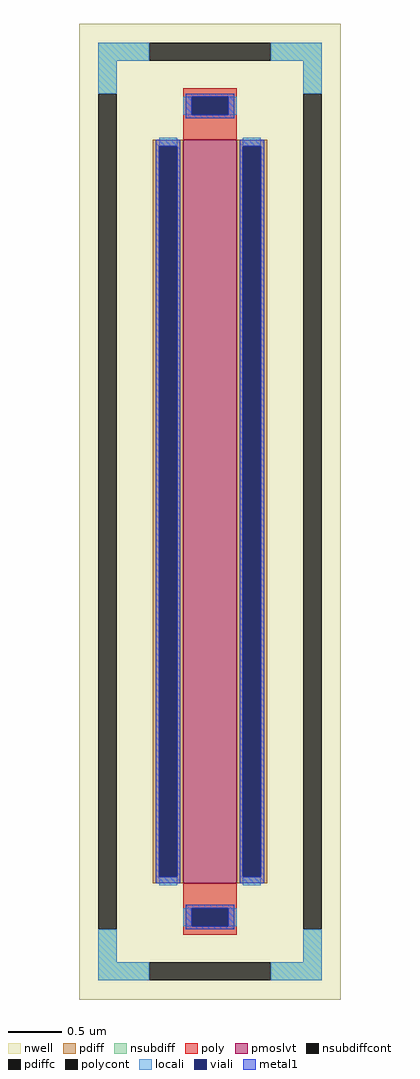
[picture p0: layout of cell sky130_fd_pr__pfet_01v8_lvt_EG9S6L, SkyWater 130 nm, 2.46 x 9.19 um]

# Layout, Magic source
magic
tech sky130A
magscale 1 2
<< nwell >>
rect -246 -919 246 919
<< pmoslvt >>
rect -50 -700 50 700
<< pdiff >>
rect -108 688 -50 700
rect -108 -688 -96 688
rect -62 -688 -50 688
rect -108 -700 -50 -688
rect 50 688 108 700
rect 50 -688 62 688
rect 96 -688 108 688
rect 50 -700 108 -688
<< pdiffc >>
rect -96 -688 -62 688
rect 62 -688 96 688
<< nsubdiff >>
rect -210 849 -114 883
rect 114 849 210 883
rect -210 787 -176 849
rect 176 787 210 849
rect -210 -849 -176 -787
rect 176 -849 210 -787
rect -210 -883 -114 -849
rect 114 -883 210 -849
<< nsubdiffcont >>
rect -114 849 114 883
rect -210 -787 -176 787
rect 176 -787 210 787
rect -114 -883 114 -849
<< poly >>
rect -50 781 50 797
rect -50 747 -34 781
rect 34 747 50 781
rect -50 700 50 747
rect -50 -747 50 -700
rect -50 -781 -34 -747
rect 34 -781 50 -747
rect -50 -797 50 -781
<< polycont >>
rect -34 747 34 781
rect -34 -781 34 -747
<< locali >>
rect -210 849 -114 883
rect 114 849 210 883
rect -210 787 -176 849
rect 176 787 210 849
rect -50 747 -34 781
rect 34 747 50 781
rect -96 688 -62 704
rect -96 -704 -62 -688
rect 62 688 96 704
rect 62 -704 96 -688
rect -50 -781 -34 -747
rect 34 -781 50 -747
rect -210 -849 -176 -787
rect 176 -849 210 -787
rect -210 -883 -114 -849
rect 114 -883 210 -849
<< viali >>
rect -34 747 34 781
rect -96 -688 -62 688
rect 62 -688 96 688
rect -34 -781 34 -747
<< metal1 >>
rect -46 781 46 787
rect -46 747 -34 781
rect 34 747 46 781
rect -46 741 46 747
rect -102 688 -56 700
rect -102 -688 -96 688
rect -62 -688 -56 688
rect -102 -700 -56 -688
rect 56 688 102 700
rect 56 -688 62 688
rect 96 -688 102 688
rect 56 -700 102 -688
rect -46 -747 46 -741
rect -46 -781 -34 -747
rect 34 -781 46 -747
rect -46 -787 46 -781
<< properties >>
string FIXED_BBOX -193 -866 193 866
string gencell sky130_fd_pr__pfet_01v8_lvt
string library sky130
string parameters w 7 l 0.5 m 1 nf 1 diffcov 100 polycov 100 guard 1 glc 1 grc 1 gtc 1 gbc 1 tbcov 100 rlcov 100 topc 1 botc 1 poverlap 1 doverlap 1 lmin 0.15 wmin 0.42 compatible {sky130_fd_pr__pfet_01v8  sky130_fd_pr__pfet_01v8_lvt sky130_fd_pr__pfet_01v8_hvt  sky130_fd_pr__pfet_g5v0d10v5} full_metal 1 viasrc 100 viadrn 100 viagate 100 viagb 0 viagr 0 viagl 0 viagt 0
<< end >>
